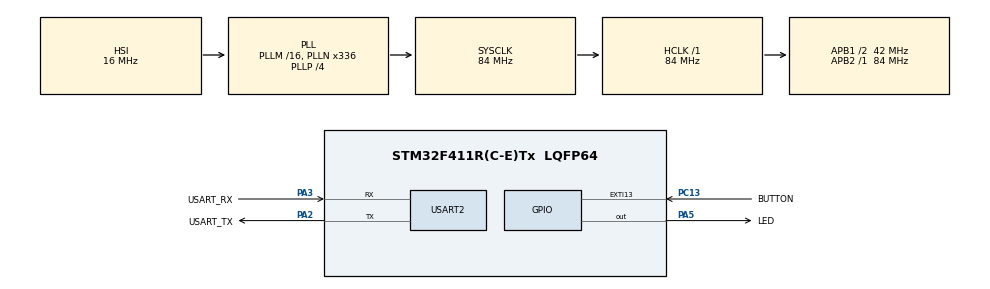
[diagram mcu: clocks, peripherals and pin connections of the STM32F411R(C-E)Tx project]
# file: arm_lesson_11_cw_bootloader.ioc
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Mcu.Family=STM32F4
Mcu.Name=STM32F411R(C-E)Tx
Mcu.Package=LQFP64
NVIC.PriorityGroup=NVIC_PRIORITYGROUP_0
PA13.GPIO_Label=TMS
PA13.Mode=Serial_Wire
PA13.Signal=SYS_JTMS-SWDIO
PA14.GPIO_Label=TCK
PA14.Mode=Serial_Wire
PA14.Signal=SYS_JTCK-SWCLK
PA2.GPIO_Label=USART_TX
PA2.Mode=Asynchronous
PA2.Signal=USART2_TX
PA3.GPIO_Label=USART_RX
PA3.Mode=Asynchronous
PA3.Signal=USART2_RX
PA5.GPIO_Label=LED
PA5.Signal=GPIO_Output
PB3.GPIO_Label=SWO
PB3.Signal=SYS_JTDO-SWO
PC13-ANTI_TAMP.GPIO_Label=BUTTON
PC13-ANTI_TAMP.GPIO_ModeDefaultEXTI=GPIO_MODE_IT_FALLING
PC13-ANTI_TAMP.Signal=GPXTI13
PC14-OSC32_IN.Mode=LSE-External-Oscillator
PC14-OSC32_IN.Signal=RCC_OSC32_IN
PC15-OSC32_OUT.Mode=LSE-External-Oscillator
PC15-OSC32_OUT.Signal=RCC_OSC32_OUT
PH0\ -\ OSC_IN.Mode=HSE-External-Clock-Source
PH0\ -\ OSC_IN.Signal=RCC_OSC_IN
PH1\ -\ OSC_OUT.Mode=HSE-External-Clock-Source
PH1\ -\ OSC_OUT.Signal=RCC_OSC_OUT
ProjectManager.HeapSize=0x200
ProjectManager.StackSize=0x400
ProjectManager.TargetToolchain=STM32CubeIDE
RCC.48MHZClocksFreq_Value=84000000
RCC.AHBFreq_Value=84000000
RCC.APB1CLKDivider=RCC_HCLK_DIV2
RCC.APB1Freq_Value=42000000
RCC.APB1TimFreq_Value=84000000
RCC.APB2Freq_Value=84000000
RCC.APB2TimFreq_Value=84000000
RCC.CortexFreq_Value=84000000
RCC.FLatency-AdvancedSettings=FLASH_LATENCY_2
RCC.HCLKFreq_Value=84000000
RCC.HSE_VALUE=8000000
RCC.HSI_VALUE=16000000
RCC.PLLN=336
RCC.PLLP=RCC_PLLP_DIV4
RCC.SYSCLKFreq_VALUE=84000000
RCC.SYSCLKSource=RCC_SYSCLKSOURCE_PLLCLK
RCC.VCOOutputFreq_Value=336000000
USART2.VirtualMode=VM_ASYNC
board=NUCLEO-F411RE

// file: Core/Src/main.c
/* USER CODE BEGIN Header */
/**
 ******************************************************************************
 * @file           : main.c
 * @brief          : Main program body
 ******************************************************************************
 * @attention
 *
 * <h2><center>&copy; Copyright (c) 2021 STMicroelectronics.
 * All rights reserved.</center></h2>
 *
 * This software component is licensed by ST under BSD 3-Clause license,
 * the "License"; You may not use this file except in compliance with the
 * License. You may obtain a copy of the License at:
 *                        opensource.org/licenses/BSD-3-Clause
 *
 ******************************************************************************
	Это тестовый вариант загрузчика. Устройство читает три строки формата ihex
	из массива. Первая содержит расширенный адрес, вторая - 4 слова(16 байт)данных,
	третья - признак конца файла. Прочитанные данные записываются в флэш память по считанному
	адресу предварительно стирается нужный сектор в флэш памяти (в данном случае сектор 3 )
	При удачном стирании сектора флэш и при корректном значении контрольной суммы в строке с
	данными устройство мигает светодиодом.

 ******************************************************************************
 */
/* USER CODE END Header */
#include "main.h"

/* USER CODE BEGIN Includes */
#include <stdbool.h>
/* USER CODE END Includes */

UART_HandleTypeDef huart2;

/* USER CODE BEGIN PV */

typedef struct {

	uint32_t extended_adress; 	//дополнительный адрес (старшие 16 бит адреса)
	uint8_t size_data;			//размер данных
	uint8_t type_data;			//тип данных
	uint8_t check_sum;			//контрольная сумма
	uint16_t address_data;		//младшие 16 бит адреса
	uint32_t program_data;		//слово(32 бит) которое пишется во флеш

} ihexData;

ihexData fwIhexData;

uint8_t calculation_check_sum = 0;		// расчитываемая контрольная сумма
uint32_t fwBuff_count = 0;				// счетчик символов в буфере с "прошивкой"
uint32_t i, j;
bool flagFwUpdate = true; 	// флаг признак обновления прошивки
bool flagFwEof = false;		// флаг приизнак конца файла
char tempFwBuff[8] = { 0, };  // временный буфер для считывания символов

// Extended Address  {":020000040800F2"};
// Data 			 {":10C00000E81B0020D5000008451F0008451D00085A"};
// End Of File 		 {":00000001FF"};

char fwBuff[] = {":020000040800F2:10C00000E81B0020D5000008451F0008451D00085A:00000001FF"};// буфер с "прошивкой"
/*
 в реальном устройстве прошивка будет находится на карте памяти или загружаться
 построчно через какой либо интерфейс(UART,I2C,CAN) или по воздуху
 */
uint32_t fwToFlashBuff[4] = { 0, }; // буфер с данными из каждой строки ihex (максимум 4 слова )

uint32_t flash_address ;  // адрес по которому будут записываться данные в флэш память
uint32_t flash_page_error;  // адрес страницы флэш памяти которую не удалось стереть

/* USER CODE END PV */

void SystemClock_Config(void);
static void MX_GPIO_Init(void);
static void MX_USART2_UART_Init(void);
/* USER CODE BEGIN PFP */

void Char_To_Hex(uint8_t *buff, uint8_t count);
/* USER CODE END PFP */

int main(void)
{

  /* MCU Configuration--------------------------------------------------------*/

  /* Reset of all peripherals, Initializes the Flash interface and the Systick. */
  HAL_Init();

  /* Configure the system clock */
  SystemClock_Config();

  /* Initialize all configured peripherals */
  MX_GPIO_Init();
  MX_USART2_UART_Init();
  /* USER CODE BEGIN 2 */

	if(flagFwUpdate){	//если нужно обновиться

		HAL_FLASH_Unlock();	//разблокируем флэш память перед стиранием

		  static FLASH_EraseInitTypeDef EraseInitStruct;
		  EraseInitStruct.TypeErase   = FLASH_TYPEERASE_SECTORS;
		  EraseInitStruct.Sector = FLASH_SECTOR_3;
		  EraseInitStruct.NbSectors = 1;
		  EraseInitStruct.VoltageRange = FLASH_VOLTAGE_RANGE_3;

		  if (HAL_FLASHEx_Erase(&EraseInitStruct, &flash_page_error) == HAL_OK)	// если удачно стёрли ...
		     {
			  	// мигнём светодиодом
				HAL_GPIO_WritePin(LED_GPIO_Port, LED_Pin, GPIO_PIN_SET);
				HAL_Delay(100);
				HAL_GPIO_WritePin(LED_GPIO_Port, LED_Pin, GPIO_PIN_RESET);
				HAL_Delay(100);
		     }
		  HAL_FLASH_Lock(); // заблокируем флэш память

		while (!flagFwEof) {		// пока не конец файла

			if (fwBuff[fwBuff_count] == ':') {		// если найден признак начала строки

				fwBuff_count++;

				for (i = 0; i < 8; i++, fwBuff_count++) {	//считываем 8 первых симовлов с полем длинны,адреса и типа
					tempFwBuff[i] = fwBuff[fwBuff_count];
				}

				Char_To_Hex(tempFwBuff, 8);	// конвертируем символы в хекс

				fwIhexData.size_data = 2 * (tempFwBuff[1] + 16 * tempFwBuff[0]); //находим размер данных
				fwIhexData.address_data = tempFwBuff[5] + 16 * tempFwBuff[4] + 256 * tempFwBuff[3] + 4096 * tempFwBuff[2]; //адрес

				fwIhexData.type_data = tempFwBuff[7] + 16 * tempFwBuff[6]; //тип данных
				calculation_check_sum = fwIhexData.size_data / 2 + (uint8_t) fwIhexData.address_data + (uint8_t) (fwIhexData.address_data >> 8)	+ fwIhexData.type_data; //считаем часть контрольной суммы

				switch (fwIhexData.type_data) {

				case 0x00:	//данные

					while (fwIhexData.size_data > 0) {  //пока не считаем все данные...

						for (i = 0; i < 8; i++, fwBuff_count++) { // считываем 8 символов во временный буфер

							tempFwBuff[i] = fwBuff[fwBuff_count];
						}

						Char_To_Hex(tempFwBuff, 8);	// конвертируем символы в хекс

						for (i = 0; i < 8; i = i + 2) {	//формируем 32-битное слово(4 байта) для записи во флэш

							tempFwBuff[i] <<= 4;
							tempFwBuff[i] = tempFwBuff[i] | tempFwBuff[i + 1];
							fwIhexData.program_data |= tempFwBuff[i] << (i * 4);
						}

						//продолжаем расчёт контрольной суммы
						calculation_check_sum += (uint8_t) fwIhexData.program_data + (uint8_t) (fwIhexData.program_data >> 8) + (uint8_t) (fwIhexData.program_data >> 16) + (uint8_t) (fwIhexData.program_data >> 24);

						fwToFlashBuff[j++] = fwIhexData.program_data; //записываем готовое слово в массив(флэш)

						fwIhexData.size_data -= 8;
						fwIhexData.program_data = 0;
					}

					//досчитываем контрольную сумму
					calculation_check_sum = ~(calculation_check_sum) + 1;

					for (i = 0; i < 2; i++, fwBuff_count++) { // считываем 2 символа контрольной суммы  во временный буфер

						tempFwBuff[i] = fwBuff[fwBuff_count];
					}

					Char_To_Hex(tempFwBuff, 2);		// конвертируем символы в хекс

					fwIhexData.check_sum = tempFwBuff[1] + 16 * tempFwBuff[0];

					if (calculation_check_sum == fwIhexData.check_sum) {	// если контрольная сумма совпадает...

						// мигнём светодиодом
						HAL_GPIO_WritePin(LED_GPIO_Port, LED_Pin, GPIO_PIN_SET);
						HAL_Delay(100);
						HAL_GPIO_WritePin(LED_GPIO_Port, LED_Pin, GPIO_PIN_RESET);
						HAL_Delay(100);

						flash_address += fwIhexData.address_data;// досчитаем адрес

						// и запишем данные в флэш память
						HAL_FLASH_Unlock();
						for (uint8_t i,j; i < sizeof(fwToFlashBuff);i+=4,j++ )
						{
							HAL_FLASH_Program(FLASH_TYPEPROGRAM_WORD, flash_address+i, fwToFlashBuff[j]);
						}
						 HAL_FLASH_Lock();

					} else {
						// если контрольная сумма не совпадает ...
						//можно вывести сообщение об ошибке и выйти
					}

					calculation_check_sum = 0;		//обнуляем контрольную сумму

					break;

				case 0x01:	//конец файла

					//досчитываем контрольную сумму
					calculation_check_sum = ~(calculation_check_sum) + 1;

					for (i = 0; i < 2; i++, fwBuff_count++) { // считываем 2 символа контрольной суммы  во временный буфер
						tempFwBuff[i] = fwBuff[fwBuff_count];
					}

					Char_To_Hex(tempFwBuff, 4);		// конвертируем символы в хекс
					fwIhexData.check_sum = tempFwBuff[1] + 16 * tempFwBuff[0];

					if (calculation_check_sum == fwIhexData.check_sum) {	//если контрольная сумма совпадает...
						flagFwEof = true;	//поднимаем флаг конца файла
					}
					else{

						// если контрольная сумма не совпадает ...
						//можно вывести сообщение об ошибке и выйти
					}

					fwBuff_count = 0; // обнуляем счетчик символа в буфере с прошивкой
					calculation_check_sum = 0; //обнуляем чек сумму

					break;

				case 0x04:	//дополнительный адрес

					for (i = 0; i < 4; i++, fwBuff_count++) { // считываем 4 символа во временный буфер
						tempFwBuff[i] = fwBuff[fwBuff_count];
					}

					Char_To_Hex(tempFwBuff, 4);		// конвертируем символы в хекс

					fwIhexData.extended_adress = (uint32_t) (tempFwBuff[0] << 28 | tempFwBuff[1] << 24 | tempFwBuff[2] << 20 | tempFwBuff[3] << 16);//считаем адрес

					calculation_check_sum += tempFwBuff[0] + tempFwBuff[1] + tempFwBuff[2] + tempFwBuff[3];
					calculation_check_sum = ~(calculation_check_sum) + 1;

					for (i = 0; i < 2; i++, fwBuff_count++) { //считываем 2 символа контрольной суммы  во временный буфер
						tempFwBuff[i] = fwBuff[fwBuff_count];
					}

					Char_To_Hex(tempFwBuff, 2);		// конвертируем символы в хекс
					fwIhexData.check_sum = tempFwBuff[1] + 16 * tempFwBuff[0];

					if (calculation_check_sum == fwIhexData.check_sum) {	//если контрольная сумма совпадает ...

						flash_address = fwIhexData.extended_adress; // формируем адрес для записи во флэш

						/*здесь ещё можно проверить что расширенный адрес соответствует
						 адресу нужного сектора(или страницы)флэш памяти
						*/
					}
					else {
						// если контрольная сумма не совпадает ...
						//можно вывести сообщение об ошибке и выйти
					}

					calculation_check_sum = 0;		//обнуляем контрольную сумму

					break;

				default:
					break;
				}
			}

		}

	}

  /* USER CODE END 2 */

  /* Infinite loop */
	while (1) {

	}
}

void SystemClock_Config(void)
{
  RCC_OscInitTypeDef RCC_OscInitStruct = {0};
  RCC_ClkInitTypeDef RCC_ClkInitStruct = {0};

  /** Configure the main internal regulator output voltage
  */
  __HAL_RCC_PWR_CLK_ENABLE();
  __HAL_PWR_VOLTAGESCALING_CONFIG(PWR_REGULATOR_VOLTAGE_SCALE1);
  /** Initializes the RCC Oscillators according to the specified parameters
  * in the RCC_OscInitTypeDef structure.
  */
  RCC_OscInitStruct.OscillatorType = RCC_OSCILLATORTYPE_HSI;
  RCC_OscInitStruct.HSIState = RCC_HSI_ON;
  RCC_OscInitStruct.HSICalibrationValue = RCC_HSICALIBRATION_DEFAULT;
  RCC_OscInitStruct.PLL.PLLState = RCC_PLL_ON;
  RCC_OscInitStruct.PLL.PLLSource = RCC_PLLSOURCE_HSI;
  RCC_OscInitStruct.PLL.PLLM = 16;
  RCC_OscInitStruct.PLL.PLLN = 336;
  RCC_OscInitStruct.PLL.PLLP = RCC_PLLP_DIV4;
  RCC_OscInitStruct.PLL.PLLQ = 4;
  if (HAL_RCC_OscConfig(&RCC_OscInitStruct) != HAL_OK)
  {
    Error_Handler();
  }
  /** Initializes the CPU, AHB and APB buses clocks
  */
  RCC_ClkInitStruct.ClockType = RCC_CLOCKTYPE_HCLK|RCC_CLOCKTYPE_SYSCLK
                              |RCC_CLOCKTYPE_PCLK1|RCC_CLOCKTYPE_PCLK2;
  RCC_ClkInitStruct.SYSCLKSource = RCC_SYSCLKSOURCE_PLLCLK;
  RCC_ClkInitStruct.AHBCLKDivider = RCC_SYSCLK_DIV1;
  RCC_ClkInitStruct.APB1CLKDivider = RCC_HCLK_DIV2;
  RCC_ClkInitStruct.APB2CLKDivider = RCC_HCLK_DIV1;

  if (HAL_RCC_ClockConfig(&RCC_ClkInitStruct, FLASH_LATENCY_2) != HAL_OK)
  {
    Error_Handler();
  }
}

static void MX_USART2_UART_Init(void)
{

  huart2.Instance = USART2;
  huart2.Init.BaudRate = 115200;
  huart2.Init.WordLength = UART_WORDLENGTH_8B;
  huart2.Init.StopBits = UART_STOPBITS_1;
  huart2.Init.Parity = UART_PARITY_NONE;
  huart2.Init.Mode = UART_MODE_TX_RX;
  huart2.Init.HwFlowCtl = UART_HWCONTROL_NONE;
  huart2.Init.OverSampling = UART_OVERSAMPLING_16;
  if (HAL_UART_Init(&huart2) != HAL_OK)
  {
    Error_Handler();
  }

}

static void MX_GPIO_Init(void)
{
  GPIO_InitTypeDef GPIO_InitStruct = {0};

  /* GPIO Ports Clock Enable */
  __HAL_RCC_GPIOC_CLK_ENABLE();
  __HAL_RCC_GPIOH_CLK_ENABLE();
  __HAL_RCC_GPIOA_CLK_ENABLE();
  __HAL_RCC_GPIOB_CLK_ENABLE();

  /*Configure GPIO pin Output Level */
  HAL_GPIO_WritePin(LED_GPIO_Port, LED_Pin, GPIO_PIN_RESET);

  /*Configure GPIO pin : BUTTON_Pin */
  GPIO_InitStruct.Pin = BUTTON_Pin;
  GPIO_InitStruct.Mode = GPIO_MODE_IT_FALLING;
  GPIO_InitStruct.Pull = GPIO_NOPULL;
  HAL_GPIO_Init(BUTTON_GPIO_Port, &GPIO_InitStruct);

  /*Configure GPIO pin : LED_Pin */
  GPIO_InitStruct.Pin = LED_Pin;
  GPIO_InitStruct.Mode = GPIO_MODE_OUTPUT_PP;
  GPIO_InitStruct.Pull = GPIO_NOPULL;
  GPIO_InitStruct.Speed = GPIO_SPEED_FREQ_LOW;
  HAL_GPIO_Init(LED_GPIO_Port, &GPIO_InitStruct);

}

/* USER CODE BEGIN 4 */

void Char_To_Hex(uint8_t *buff, uint8_t count) {
	uint8_t i;

	for (i = 0; i < count; i++) {
		if (buff[i] <= '9' && buff[i] >= '0') {
			buff[i] -= 0x30;
		} else {
			buff[i] = buff[i] - 0x41 + 10;
		}
	}
}

/* USER CODE END 4 */

void Error_Handler(void)
{
	__disable_irq();
	while (1) {
	}
}

/************************ (C) COPYRIGHT STMicroelectronics *****END OF FILE****/
